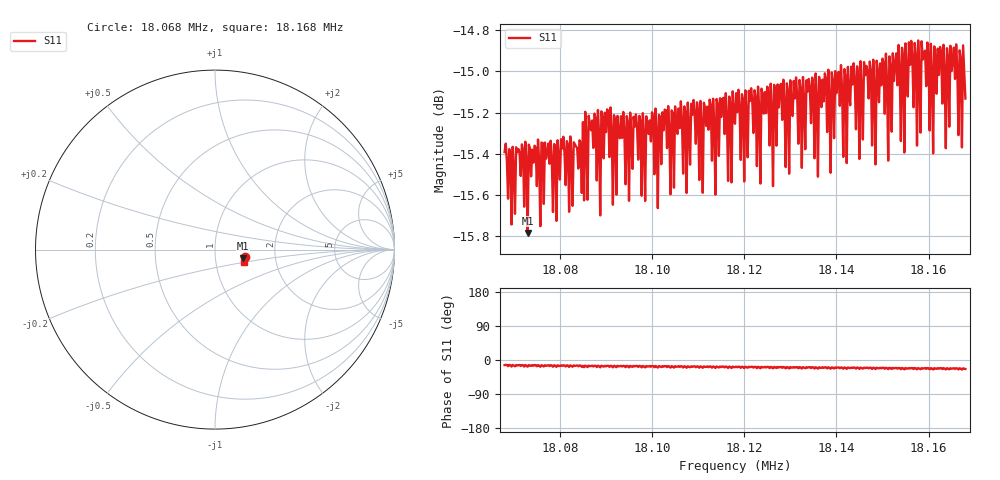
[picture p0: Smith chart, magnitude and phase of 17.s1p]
# Hz S RI R 50
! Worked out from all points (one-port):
!   401 points, 18.068 MHz to 18.168 MHz, reference 50 ohm
!   lowest |S11| = -15.8 dB at 18.073 MHz (marker M1), VSWR 1.39, Z = 67.9 - j6.88 ohm
!   |S11| at or under -10 dB: start of sweep to end of sweep
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1.8068e7  0.1654 -0.0391
1.806975e7  0.1661 -0.0382
1.8073e7  0.1548 -0.0494
1.80805e7  0.1641 -0.0455
1.8093e7  0.1644 -0.0481
1.8098e7  0.1673 -0.0467
1.81055e7  0.1638 -0.0517
1.8107e7  0.1672 -0.0493
1.81095e7  0.1614 -0.0559
1.81105e7  0.1675 -0.0503
1.811575e7  0.1618 -0.0575
1.811675e7  0.1674 -0.0522
1.8118e7  0.1635 -0.0555
1.8123e7  0.1678 -0.0541
1.812825e7  0.162 -0.0609
1.812925e7  0.1675 -0.056
1.81305e7  0.1629 -0.0594
1.813275e7  0.1678 -0.0572
1.81345e7  0.161 -0.0625
1.81355e7  0.1679 -0.058
1.8143e7  0.1625 -0.0635
1.814525e7  0.1681 -0.0612
1.8147e7  0.1624 -0.0656
1.8148e7  0.1681 -0.0616
1.815325e7  0.1627 -0.0683
1.815425e7  0.1683 -0.0645
1.81555e7  0.1616 -0.068
1.8168e7  0.1604 -0.0704
